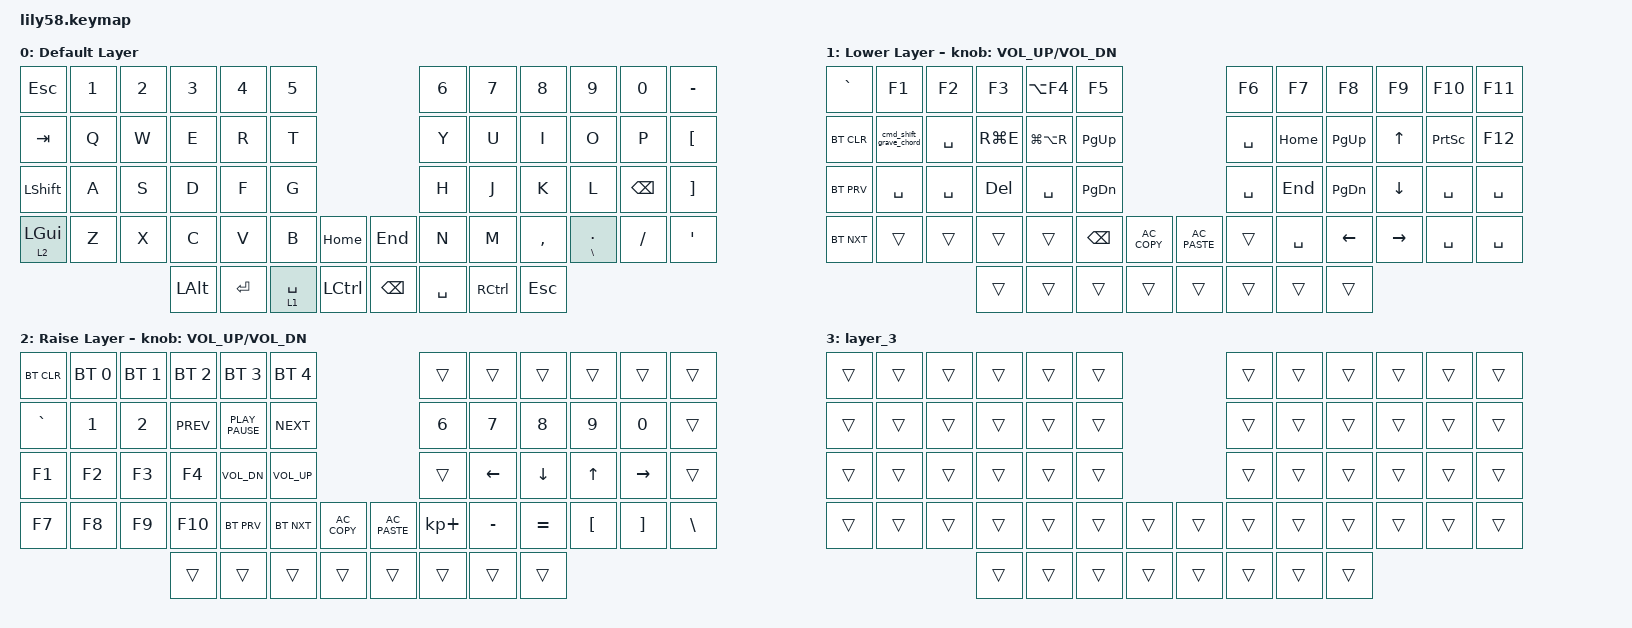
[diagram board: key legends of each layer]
/*
 * Copyright (c) 2020 The ZMK Contributors
 *
 * SPDX-License-Identifier: MIT
 */

#include <behaviors.dtsi>
#include <dt-bindings/zmk/bt.h>
#include <dt-bindings/zmk/keys.h>

/ {
    macros {
        cmd_shift_grave_chord: cmd_shift_grave_chord {
            compatible = "zmk,behavior-macro";
            #binding-cells = <0>;
            bindings = <&kp LS(LG(GRAVE))>;
            label = "CMD_SHIFT_GRAVE_CHORD";
        };
    };

    behaviors {
        cmd_shift_grave: cmd_shift_grave {
            compatible = "zmk,behavior-mod-morph";
            label = "CMD_SHIFT_GRAVE";
            bindings = <&kp GRAVE>, <&cmd_shift_grave_chord>;

            #binding-cells = <0>;
            mods = <(MOD_LGUI|MOD_LSFT)>;
        };
    };

    keymap {
        compatible = "zmk,keymap";

        default_layer {
            display-name = "Default Layer";

            // ------------------------------------------------------------------------------------------------------------
            // |  ESC  |  1  |  2  |  3   |  4   |  5   |                   |  6   |  7    |  8    |  9   |   0   |   `   |
            // |  TAB  |  Q  |  W  |  E   |  R   |  T   |                   |  Y   |  U    |  I    |  O   |   P   |   -   |
            // |  CTRL |  A  |  S  |  D   |  F   |  G   |                   |  H   |  J    |  K    |  L   |   ;   |   '   |
            // | SHIFT |  Z  |  X  |  C   |  V   |  B   |   "["  |  |  "]"  |  N   |  M    |  ,    |  .   |   /   | SHIFT |
            //                     | ALT  | GUI  | LOWER|  SPACE |  | ENTER | RAISE| BSPC  | GUI   |

            bindings = <
&kp ESC         &kp N1  &kp N2  &kp N3    &kp N4     &kp N5                                   &kp N6     &kp N7     &kp N8      &kp N9             &kp N0         &kp MINUS
&kp TAB         &kp Q   &kp W   &kp E     &kp R      &kp T                                    &kp Y      &kp U      &kp I       &kp O              &kp P          &kp LEFT_BRACKET
&kp LEFT_SHIFT  &kp A   &kp S   &kp D     &kp F      &kp G                                    &kp H      &kp J      &kp K       &kp L              &kp BACKSPACE  &kp RIGHT_BRACKET
&lt 2 LEFT_GUI  &kp Z   &kp X   &kp C     &kp V      &kp B        &kp HOME     &kp END        &kp N      &kp M      &kp COMMA   &mt BACKSLASH DOT  &kp SLASH      &kp SQT
                                &kp LALT  &kp ENTER  &lt 1 SPACE  &kp LCTRL    &kp BACKSPACE  &kp SPACE  &kp RCTRL  &kp ESCAPE
            >;
        };

        lower_layer {
            display-name = "Lower Layer";

            // ------------------------------------------------------------------------------------------------------------
            // | BTCLR | BT1 | BT2 |  BT3 |  BT4 |  BT5 |                   |      |       |       |      |       |       |
            // |  F1   |  F2 |  F3 |  F4  |  F5  |  F6  |                   |  F7  |  F8   |  F9   |  F10 |  F11  |  F12  |
            // |   `   |  !  |  @  |  #   |  $   |  %   |                   |  ^   |  &    |  *    |  (   |   )   |   ~   |
            // |       |     |     |      |      |      |        |  |       |      |  _    |  +    |  {   |   }   |  "|"  |
            //                     |      |      |      |        |  |       |      |       |       |

            bindings = <
&kp GRAVE   &kp F1                  &kp F2     &kp F3      &kp LA(F4)     &kp F5                                          &kp F6     &kp F7     &kp F8         &kp F9        &kp F10          &kp F11
&bt BT_CLR  &cmd_shift_grave_chord  &kp SPACE  &kp RG(E)   &kp LG(LA(R))  &kp PAGE_UP                                     &kp SPACE  &kp HOME   &kp PAGE_UP    &kp UP_ARROW  &kp PRINTSCREEN  &kp F12
&bt BT_PRV  &kp SPACE               &kp SPACE  &kp DELETE  &kp SPACE      &kp PAGE_DOWN                                   &kp SPACE  &kp END    &kp PAGE_DOWN  &kp DOWN      &kp SPACE        &kp SPACE
&bt BT_NXT  &trans                  &trans     &trans      &trans         &kp BACKSPACE  &kp C_AC_COPY    &kp C_AC_PASTE  &trans     &kp SPACE  &kp LEFT       &kp RIGHT     &kp SPACE        &kp SPACE
                                               &trans      &trans         &trans         &trans           &trans          &trans     &trans     &trans
            >;

            sensor-bindings = <&inc_dec_kp C_VOL_UP C_VOL_DN>;
        };

        raise_layer {
            display-name = "Raise Layer";

            // ------------------------------------------------------------------------------------------------------------
            // |       |     |     |      |      |      |                   |      |       |       |      |       |       |
            // |   `   |  1  |  2  |  3   |  4   |  5   |                   |  6   |   7   |   8   |  9   |   0   |       |
            // |   F1  |  F2 |  F3 |  F4  |  F5  |  F6  |                   |      |   <-  |   v   |  ^   |  ->   |       |
            // |   F7  |  F8 |  F9 |  F10 |  F11 |  F12 |        |  |       |  +   |   -   |   =   |  [   |   ]   |   \   |
            //                     |      |      |      |        |  |       |      |       |       |

            bindings = <
&bt BT_CLR  &bt BT_SEL 0  &bt BT_SEL 1  &bt BT_SEL 2  &bt BT_SEL 3      &bt BT_SEL 4                                   &trans       &trans     &trans     &trans    &trans     &trans
&kp GRAVE   &kp N1        &kp N2        &kp K_PREV    &kp K_PLAY_PAUSE  &kp K_NEXT                                     &kp N6       &kp N7     &kp N8     &kp N9    &kp N0     &trans
&kp F1      &kp F2        &kp F3        &kp F4        &kp K_VOL_DN      &kp K_VOL_UP                                   &trans       &kp LEFT   &kp DOWN   &kp UP    &kp RIGHT  &trans
&kp F7      &kp F8        &kp F9        &kp F10       &bt BT_PRV        &bt BT_NXT    &kp C_AC_COPY    &kp C_AC_PASTE  &kp KP_PLUS  &kp MINUS  &kp EQUAL  &kp LBKT  &kp RBKT   &kp BSLH
                                        &trans        &trans            &trans        &trans           &trans          &trans       &trans     &trans
            >;

            sensor-bindings = <&inc_dec_kp C_VOL_UP C_VOL_DN>;
        };

        layer_3 {
            bindings = <
&trans  &trans  &trans  &trans  &trans  &trans                    &trans  &trans  &trans  &trans  &trans  &trans
&trans  &trans  &trans  &trans  &trans  &trans                    &trans  &trans  &trans  &trans  &trans  &trans
&trans  &trans  &trans  &trans  &trans  &trans                    &trans  &trans  &trans  &trans  &trans  &trans
&trans  &trans  &trans  &trans  &trans  &trans  &trans    &trans  &trans  &trans  &trans  &trans  &trans  &trans
                        &trans  &trans  &trans  &trans    &trans  &trans  &trans  &trans
            >;
        };
    };
};
